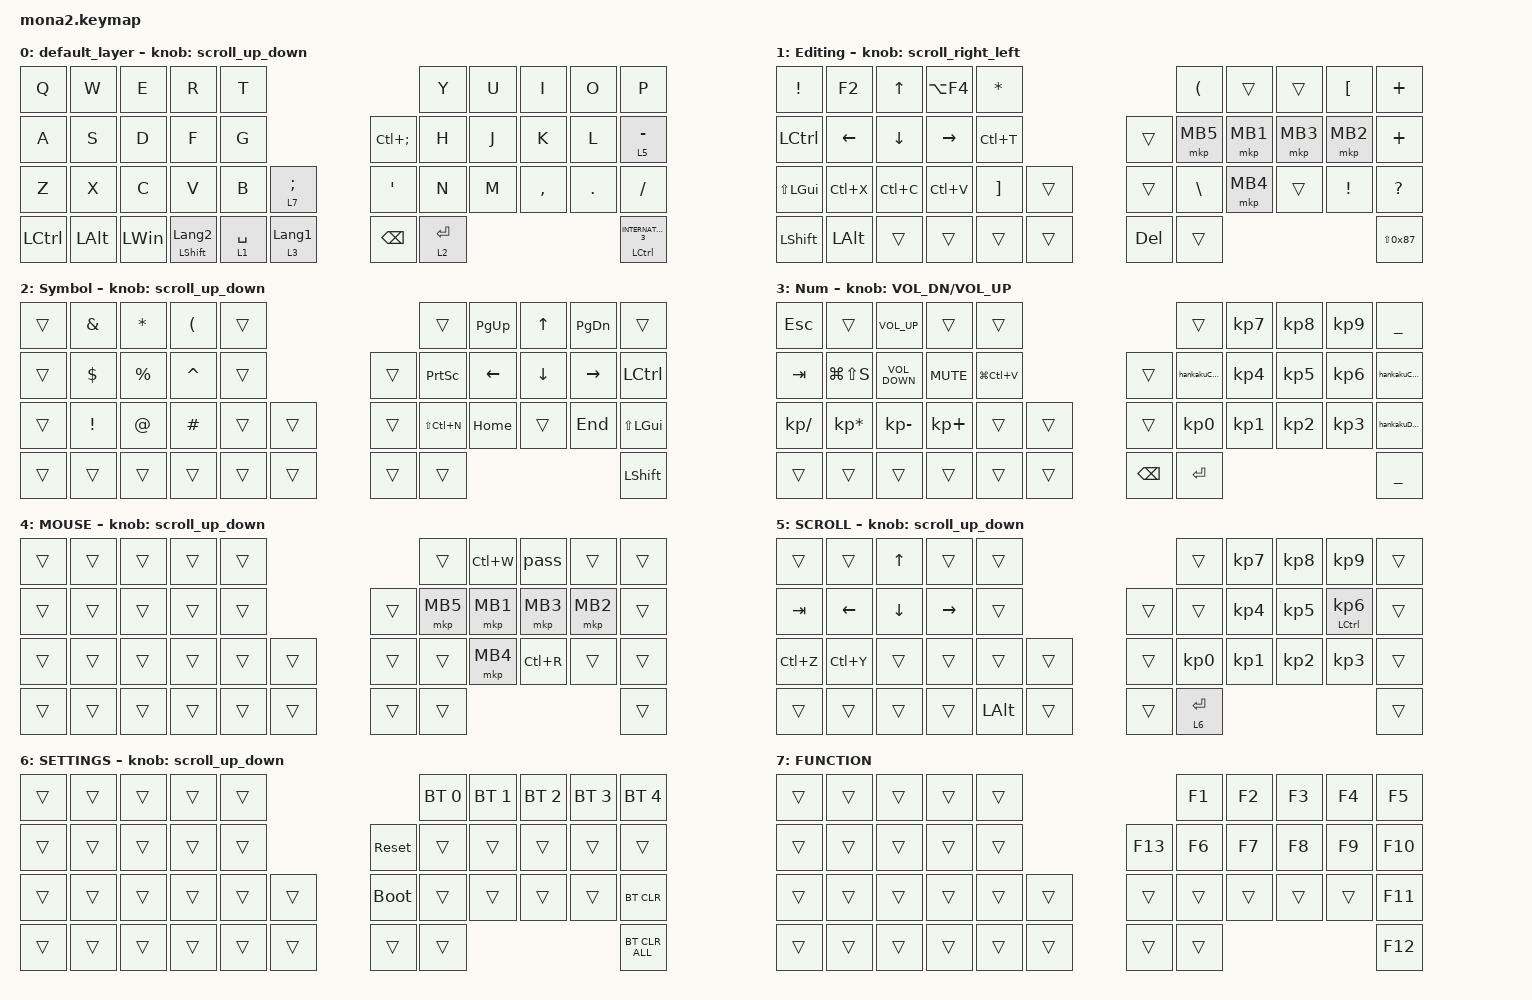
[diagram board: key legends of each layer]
// OS設定を日本語キーボードのまま使用するための変換定義

#define JP_DQUOTE       AT                // "
#define JP_AMPERSAND    CARET             // &
#define JP_QUOTE        AMPERSAND         // '
#define JP_EQUAL        UNDER             // =
#define JP_CARET        EQUAL             // ^
#define JP_YEN          0x89              // ¥
#define JP_PLUS         COLON             // +
#define JP_TILDE        PLUS              // ~
#define JP_PIPE         LS(0x89)          // |
#define JP_AT           LEFT_BRACKET      // @
#define JP_COLON        SINGLE_QUOTE      // :
#define JP_ASTERISK     DOUBLE_QUOTES     // *
#define JP_BACKQUOTE    LEFT_BRACE        // `
#define JP_UNDERSCORE   LS(0x87)          // _
#define JP_LBRACKET     RIGHT_BRACKET     // [
#define JP_RBRACKET     BACKSLASH         // ]
#define JP_LPAREN       ASTERISK          // (
#define JP_RPAREN       LEFT_PARENTHESIS  // )
#define JP_LBRACE       RIGHT_BRACE       // {
#define JP_RBRACE       PIPE              // }
#define JP_KANA         LANGUAGE_1        // かな
#define JP_EISU         LANGUAGE_2        // 英数
#define JP_HANZEN       GRAVE             // 半角/全角

#include <input/processors.dtsi>
#include <dt-bindings/zmk/input_transform.h>
#include <zephyr/dt-bindings/input/input-event-codes.h>
#include <behaviors.dtsi>
#include <dt-bindings/zmk/bt.h>
#include <dt-bindings/zmk/keys.h>
#include <dt-bindings/zmk/pointing.h>

#define ZMK_POINTING_DEFAULT_SCRL_VAL 100
#define MOUSE 4
#define SCROLL 5

&mkp_input_listener { input-processors = <&zip_temp_layer 4 800>; };

&mt {
    flavor = "balanced";
    quick-tap-ms = <0>;
};

&lt {
    quick-tap-ms = <300>;
    flavor = "balanced";
};

/ {
    combos {
        compatible = "zmk,combos";

        FUNCTIONlayer_ESC {
            bindings = <&lt 7 ESC>;
            key-positions = <39 38>;
        };

        tab {
            bindings = <&kp TAB>;
            key-positions = <11 12>;
        };
    };

    macros {
        to_layer_0: to_layer_0 {
            compatible = "zmk,behavior-macro-one-param";
            #binding-cells = <1>;
            bindings = <&to 0 &macro_param_1to1 &kp MACRO_PLACEHOLDER>;
            label = "TO_LAYER_0";
        };

        hankakuComma: hankakuComma {
            compatible = "zmk,behavior-macro";
            #binding-cells = <0>;
            bindings = <&kp JP_EISU &kp COMMA>;
            label = "HANKAKUCOMMA";
        };

        hankakuDOT: hankakuDOT {
            compatible = "zmk,behavior-macro";
            #binding-cells = <0>;
            bindings = <&kp JP_EISU &kp PERIOD>;
            label = "HANKAKUDOT";
        };

        hankakuCOLON: hankakuCOLON {
            compatible = "zmk,behavior-macro";
            #binding-cells = <0>;
            bindings = <&kp JP_EISU &kp JP_COLON>;
            label = "HANKAKUCOLON";
        };

        pass: pass {
            compatible = "zmk,behavior-macro";
            #binding-cells = <0>;
            bindings = <&kp LS(B) &kp O &kp N &kp G &kp O &kp N3 &kp N1 &kp N2 &kp N0>;
            label = "PASS";
        };
    };

    behaviors {
        lt_to_layer_0: lt_to_layer_0 {
            compatible = "zmk,behavior-hold-tap";
            label = "LAYER_TAP_TO_0";
            bindings = <&mo>, <&to_layer_0>;

            #binding-cells = <2>;
            tapping-term-ms = <200>;
        };

        scroll_up_down: mouse_wheel_up_down {
            compatible = "zmk,behavior-sensor-rotate";
            #sensor-binding-cells = <0>;
            bindings = <&msc SCRL_DOWN>, <&msc SCRL_UP>;

            tap-ms = <20>;
        };

        scroll_right_left: mouse_wheel_right_left {
            compatible = "zmk,behavior-sensor-rotate";
            #sensor-binding-cells = <0>;
            bindings = <&msc SCRL_LEFT>, <&msc SCRL_RIGHT>;

            tap-ms = <20>;
        };
    };

    keymap {
        compatible = "zmk,keymap";

        default_layer {
            bindings = <
&kp Q             &kp W         &kp E         &kp R                   &kp T                                                       &kp Y        &kp U  &kp I      &kp O    &kp P
&kp A             &kp S         &kp D         &kp F                   &kp G                                    &kp LC(SEMICOLON)  &kp H        &kp J  &kp K      &kp L    &lt 5 MINUS
&kp Z             &kp X         &kp C         &kp V                   &kp B        &lt 7 SEMICOLON             &kp JP_COLON       &kp N        &kp M  &kp COMMA  &kp DOT  &kp SLASH
&kp LEFT_CONTROL  &kp LEFT_ALT  &kp LEFT_WIN  &mt LEFT_SHIFT JP_EISU  &lt 1 SPACE  &lt_to_layer_0 3 JP_KANA    &kp BACKSPACE      &lt 2 ENTER                             &mt LCTRL INTERNATIONAL_3
            >;

            sensor-bindings = <&scroll_up_down>;
        };

        Editing {
            bindings = <
&kp EXCLAMATION   &kp F2          &kp UP_ARROW    &kp LA(F4)       &kp JP_LPAREN                          &kp JP_RPAREN    &trans    &trans    &kp LEFT_BRACKET  &kp PLUS
&kp LCTRL         &kp LEFT_ARROW  &kp DOWN_ARROW  &kp RIGHT_ARROW  &kp LC(T)                  &trans      &mkp MB5         &mkp MB1  &mkp MB3  &mkp MB2          &kp PLUS
&kp LS(LEFT_GUI)  &kp LC(X)       &kp LC(C)       &kp LC(V)        &kp JP_LBRACKET  &trans    &trans      &kp JP_RBRACKET  &mkp MB4  &trans    &kp EXCLAMATION   &kp QUESTION
&kp LEFT_SHIFT    &kp LEFT_ALT    &trans          &trans           &trans           &trans    &kp DELETE  &trans                                                 &kp JP_UNDERSCORE
            >;

            sensor-bindings = <&scroll_right_left>;
        };

        Symbol {
            bindings = <
&trans  &kp JP_QUOTE     &kp JP_LPAREN  &kp JP_RPAREN     &trans                    &trans           &kp PAGE_UP     &kp UP_ARROW    &kp PAGE_DOWN    &trans
&trans  &kp DOLLAR       &kp PERCENT    &kp JP_AMPERSAND  &trans            &trans  &kp PRINTSCREEN  &kp LEFT_ARROW  &kp DOWN_ARROW  &kp RIGHT_ARROW  &kp LEFT_CONTROL
&trans  &kp EXCLAMATION  &kp JP_DQUOTE  &kp HASH          &trans  &trans    &trans  &kp LS(LC(N))    &kp HOME        &trans          &kp END          &kp LS(LEFT_GUI)
&trans  &trans           &trans         &trans            &trans  &trans    &trans  &trans                                                            &kp LEFT_SHIFT
            >;

            sensor-bindings = <&scroll_up_down>;
        };

        Num {
            bindings = <
&kp ESCAPE    &trans           &kp C_VOLUME_UP    &trans       &trans                                  &trans           &kp KP_NUMBER_7  &kp KP_NUMBER_8  &kp KP_NUMBER_9  &kp JP_EQUAL
&kp TAB       &kp LG(LS(S))    &kp C_VOLUME_DOWN  &kp C_MUTE   &kp LG(LC(V))            &trans         &hankakuComma    &kp KP_NUMBER_4  &kp KP_NUMBER_5  &kp KP_NUMBER_6  &hankakuCOLON
&kp KP_SLASH  &kp KP_ASTERISK  &kp KP_MINUS       &kp KP_PLUS  &trans         &trans    &trans         &kp KP_NUMBER_0  &kp KP_NUMBER_1  &kp KP_NUMBER_2  &kp KP_NUMBER_3  &hankakuDOT
&trans        &trans           &trans             &trans       &trans         &trans    &kp BACKSPACE  &kp ENTER                                                           &kp JP_EQUAL
            >;

            sensor-bindings = <&inc_dec_kp C_VOL_DN C_VOL_UP>;
        };

        MOUSE {
            bindings = <
&trans  &trans  &trans  &trans  &trans                    &trans    &kp LC(W)  &pass      &trans    &trans
&trans  &trans  &trans  &trans  &trans            &trans  &mkp MB5  &mkp MB1   &mkp MB3   &mkp MB2  &trans
&trans  &trans  &trans  &trans  &trans  &trans    &trans  &trans    &mkp MB4   &kp LC(R)  &trans    &trans
&trans  &trans  &trans  &trans  &trans  &trans    &trans  &trans                                    &trans
            >;

            sensor-bindings = <&scroll_up_down>;
        };

        SCROLL {
            bindings = <
&trans     &trans          &kp UP_ARROW    &trans           &trans                          &trans           &kp KP_NUMBER_7  &kp KP_NUMBER_8  &kp KP_NUMBER_9        &trans
&kp TAB    &kp LEFT_ARROW  &kp DOWN_ARROW  &kp RIGHT_ARROW  &trans                  &trans  &trans           &kp KP_NUMBER_4  &kp KP_NUMBER_5  &mt LCTRL KP_NUMBER_6  &trans
&kp LC(Z)  &kp LC(Y)       &trans          &trans           &trans        &trans    &trans  &kp KP_NUMBER_0  &kp KP_NUMBER_1  &kp KP_NUMBER_2  &kp KP_NUMBER_3        &trans
&trans     &trans          &trans          &trans           &kp LEFT_ALT  &trans    &trans  &lt 6 ENTER                                                               &trans
            >;

            sensor-bindings = <&scroll_up_down>;
        };

        SETTINGS {
            bindings = <
&trans  &trans  &trans  &trans  &trans                         &bt BT_SEL 0  &bt BT_SEL 1  &bt BT_SEL 2  &bt BT_SEL 3  &bt BT_SEL 4
&trans  &trans  &trans  &trans  &trans            &sys_reset   &trans        &trans        &trans        &trans        &trans
&trans  &trans  &trans  &trans  &trans  &trans    &bootloader  &trans        &trans        &trans        &trans        &bt BT_CLR
&trans  &trans  &trans  &trans  &trans  &trans    &trans       &trans                                                  &bt BT_CLR_ALL
            >;

            sensor-bindings = <&scroll_up_down>;
        };

        FUNCTION {
            bindings = <
&trans  &trans  &trans  &trans  &trans                     &kp F1  &kp F2  &kp F3  &kp F4  &kp F5
&trans  &trans  &trans  &trans  &trans            &kp F13  &kp F6  &kp F7  &kp F8  &kp F9  &kp F10
&trans  &trans  &trans  &trans  &trans  &trans    &trans   &trans  &trans  &trans  &trans  &kp F11
&trans  &trans  &trans  &trans  &trans  &trans    &trans   &trans                          &kp F12
            >;
        };
    };
};
